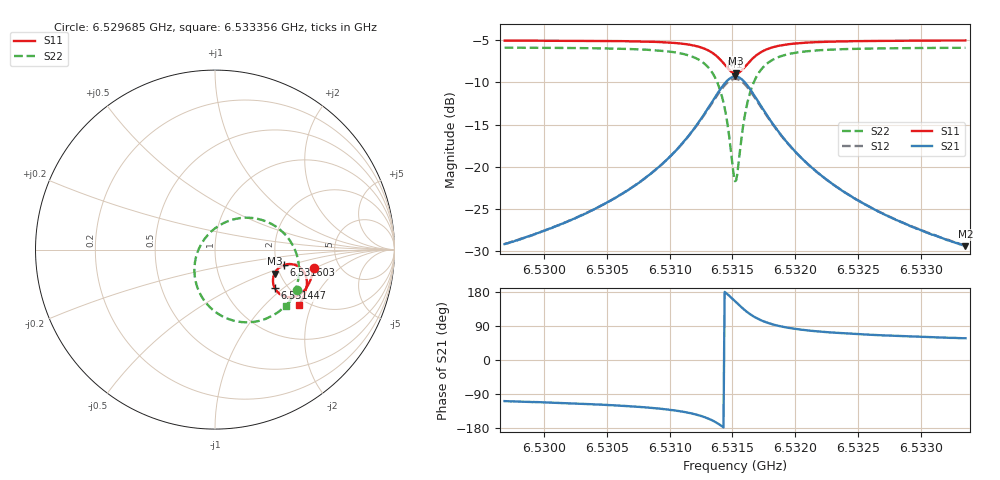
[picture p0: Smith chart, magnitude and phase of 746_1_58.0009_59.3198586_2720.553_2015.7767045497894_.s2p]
#  HZ  S  RI  R  50.00
! Rohde & Schwarz Vector Network Analyzer
! Rohde-Schwarz,ZNB20-2Port,1311601062101988,3.16
! Created: UTC 3/21/2024, 1:23:47 AM
! freq[Hz]  re:S11  im:S11  re:S21  im:S21  re:S12  im:S12  re:S22  im:S22
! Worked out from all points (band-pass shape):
!   401 points, 6.529685 GHz to 6.533356 GHz, reference 50 ohm
!   highest |S21| = -9.29 dB at 6.531521 GHz (marker M1); lowest = -29.4 dB at 6.533356 GHz (marker M2)
!   |S21| within 3 dB of the highest: 6.531339 GHz to 6.531706 GHz (366.8 kHz wide, 0.00562 % of centre)
!   lowest |S11| = -8.9 dB at 6.53153 GHz (marker M3), VSWR 2.11, Z = 93.8 - j28.8 ohm
!   |S11| at or under -10 dB: nowhere
!   |S22| runs from -21.7 to -5.9 dB; largest |S21 - S12| = 0.014
!   S11 on the Smith chart (normalised r, x): 6.529685 GHz: 3.22, -0.99; 6.531447 GHz: 1.72, -0.88; 6.531603 GHz: 2.19, -0.44; 6.533356 GHz: 1.81, -1.64
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6.5296852e9  0.5502 -0.1051  -0.011 -0.0329  -0.0117 -0.0327  0.4569 -0.2238
6.5303001e9  0.5363 -0.1571  -0.0223 -0.0465  -0.0235 -0.046  0.4196 -0.282
6.5306488e9  0.5222 -0.1908  -0.0371 -0.0607  -0.0387 -0.0598  0.3812 -0.3242
6.530915e9  0.5031 -0.2211  -0.0617 -0.0784  -0.064 -0.0765  0.326 -0.3649
6.5311353e9  0.4705 -0.2505  -0.11 -0.0981  -0.113 -0.0939  0.2296 -0.4004
6.5312913e9  0.4197 -0.2657  -0.1894 -0.099  -0.1909 -0.0904  0.0864 -0.3906
6.5313831e9  0.3692 -0.2528  -0.2666 -0.06  -0.2636 -0.0486  -0.039 -0.3095
6.5314198e9  0.3473 -0.2352  -0.2984 -0.0232  -0.2919 -0.0118  -0.0848 -0.2419
6.5314473e9  0.3334 -0.2153  -0.3168 0.0147  -0.3077 0.0252  -0.1082 -0.1752
6.5315024e9  0.3236 -0.1619  -0.3223 0.1111  -0.3091 0.116  -0.0982 -0.0167
6.5315207e9  0.3279 -0.1428  -0.3114 0.1442  -0.298 0.1465  -0.0741 0.0351
6.5315299e9  0.3315 -0.1338  -0.3035 0.1597  -0.2902 0.1609  -0.0583 0.059
6.5315483e9  0.3415 -0.117  -0.2832 0.1879  -0.2708 0.1869  -0.0205 0.1011
6.5316033e9  0.3849 -0.0854  -0.2033 0.2398  -0.1953 0.2352  0.1196 0.1721
6.5316309e9  0.4082 -0.0805  -0.1624 0.2473  -0.1565 0.2424  0.1885 0.1775
6.5316676e9  0.4356 -0.0825  -0.115 0.2439  -0.1113 0.2396  0.2675 0.1633
6.5317593e9  0.4804 -0.1065  -0.0391 0.2068  -0.0373 0.2046  0.3901 0.0847
6.531897e9  0.5058 -0.1465  0.00532 0.1511  0.0066 0.1501  0.4546 -0.0263
6.5321356e9  0.5116 -0.1939  0.0225 0.0958  0.0235 0.0952  0.4673 -0.1386
6.5323926e9  0.5058 -0.2278  0.0239 0.0664  0.0249 0.0661  0.4552 -0.2035
6.5327505e9  0.4932 -0.2628  0.0218 0.0454  0.0227 0.0451  0.4338 -0.2578
6.5333563e9  0.4683 -0.3097  0.0182 0.0284  0.019 0.0282  0.3981 -0.3153
